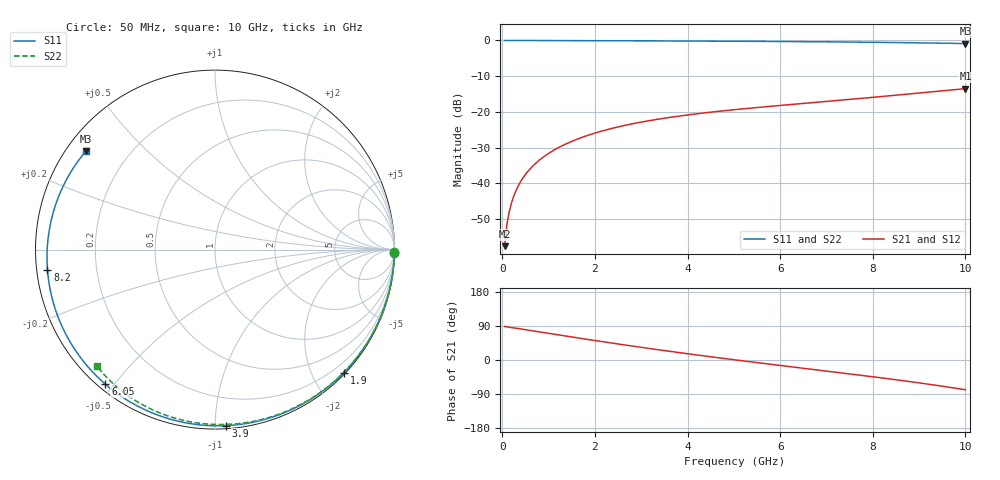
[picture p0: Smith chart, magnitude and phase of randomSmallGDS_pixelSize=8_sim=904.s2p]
! freq	dB(S11)	phase(S11)	dB(S12)	phase(S12)
!  dB(S21)	phase(S21)	dB(S22)	phase(S22)
!S-par simulation data
#  GHz  S  DB  R 50
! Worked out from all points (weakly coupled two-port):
!   200 points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, 50 MHz to 10 GHz, reference 50 ohm
!   highest |S21| = -13.49 dB at 10 GHz (marker M1); lowest = -57.6 dB at 50 MHz (marker M2)
!   lowest |S11| = -0.9 dB at 10 GHz (marker M3), VSWR 20.00, Z = 2.79 + j16.9 ohm
!   |S11| at or under -10 dB: nowhere
!   |S22| runs from -0.7 to 0.0 dB; largest |S21 - S12| = 0
!   S11 on the Smith chart (normalised r, x): 50 MHz: 0, -97; 1.9 GHz: 0.03, -2.49; 3.9 GHz: 0.02, -1.06; 6.05 GHz: 0.02, -0.47; 8.2 GHz: 0.03, -0.06; 10 GHz: 0.06, +0.34
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0.05  -0.00 -1.2  -57.57 88.6  -57.57 88.6  -0.00 -0.8
0.1  -0.00 -2.4  -51.50 87.4  -51.50 87.4  -0.00 -1.6
0.15  -0.00 -3.5  -47.93 86.4  -47.93 86.4  -0.00 -2.4
0.2  -0.01 -4.7  -45.42 85.6  -45.42 85.6  -0.00 -3.2
0.35  -0.01 -8.2  -40.57 82.9  -40.57 82.9  -0.01 -5.6
0.5  -0.02 -11.7  -37.50 79.9  -37.50 79.9  -0.01 -7.9
0.7  -0.02 -16.3  -34.63 76.0  -34.63 76.0  -0.02 -11.1
1  -0.03 -23.3  -31.61 70.2  -31.61 70.2  -0.02 -15.8
1.75  -0.06 -40.3  -26.99 56.0  -26.99 56.0  -0.04 -27.4
1.9  -0.07 -43.7  -26.33 53.2  -26.33 53.2  -0.05 -29.7
2.65  -0.09 -60.2  -23.76 39.6  -23.76 39.6  -0.07 -41.0
3.4  -0.13 -76.1  -21.96 26.5  -21.96 26.5  -0.10 -52.0
3.9  -0.15 -86.4  -21.02 18.2  -21.02 18.2  -0.11 -59.1
4.45  -0.18 -97.6  -20.15 9.3  -20.15 9.3  -0.14 -66.8
5.05  -0.22 -109.5  -19.33 -0.1  -19.33 -0.1  -0.16 -74.9
6.05  -0.29 -129.2  -18.13 -15.1  -18.13 -15.1  -0.22 -88.0
6.7  -0.35 -142.0  -17.40 -24.7  -17.40 -24.7  -0.26 -96.2
7.5  -0.44 -158.3  -16.50 -36.5  -16.50 -36.5  -0.33 -106.0
8.2  -0.54 -173.2  -15.68 -47.3  -15.68 -47.3  -0.40 -114.4
8.35  -0.56 -176.5  -15.51 -49.6  -15.51 -49.6  -0.42 -116.2
9.2  -0.71 163.5  -14.47 -63.8  -14.47 -63.8  -0.54 -126.1
10  -0.87 142.6  -13.49 -78.5  -13.49 -78.5  -0.68 -135.2
